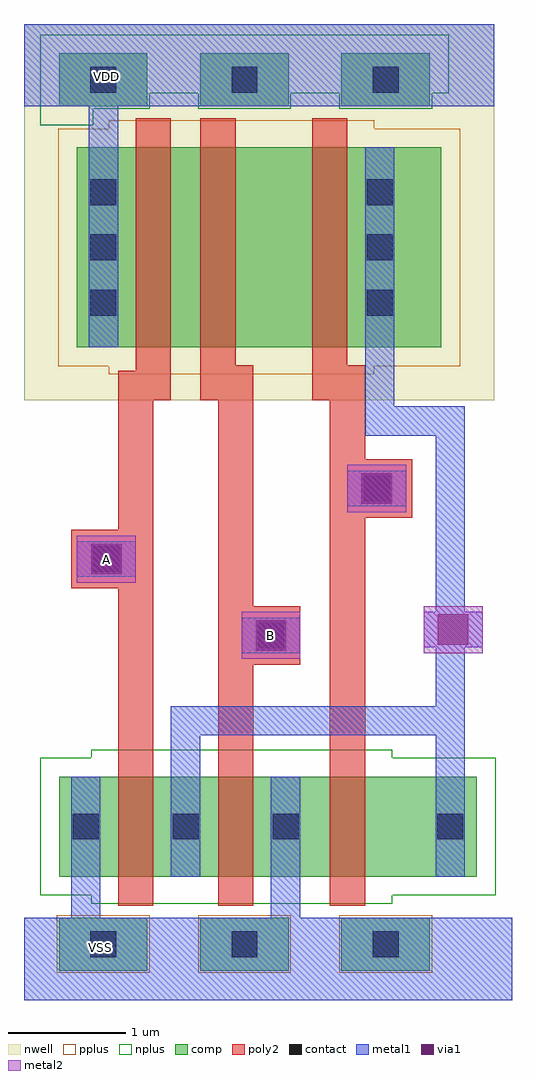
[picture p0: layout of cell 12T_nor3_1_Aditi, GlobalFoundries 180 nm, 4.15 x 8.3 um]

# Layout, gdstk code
import gdstk
lib = gdstk.Library(unit=1e-6, precision=1e-09)
def R(c, l, rs):  # rectangles x0, y0, x1, y1
    for r in rs: c.add(gdstk.rectangle(r[:2], r[2:], *l))
def A(c, l, x, y, w, h, nx, ny, dx, dy):  # array of equal rectangles
    R(c, l, [(x+i*dx, y+j*dy, x+i*dx+w, y+j*dy+h) for i in range(nx) for j in range(ny)])
nwell = (21, 0)
comp = (22, 0)
poly2 = (30, 0)
pplus = (31, 0)
nplus = (32, 0)
contact = (33, 0)
metal1 = (34, 0)
via1 = (35, 0)
metal2 = (36, 0)

c_12t_nor3_1_aditi = lib.new_cell('12T_nor3_1_Aditi')
R(c_12t_nor3_1_aditi, nwell, [(0,5.1,4,8.3)])
A(c_12t_nor3_1_aditi, comp, 0.3, 0.25, 0.75, 0.45, 3, 2, 1.2, 7.35)
R(c_12t_nor3_1_aditi, comp, [(0.3,1.05,3.85,1.9), (0.45,5.55,3.55,7.25)])
R(c_12t_nor3_1_aditi, poly2, [(0.8,0.8,1.1,3.5), (1.65,0.8,1.95,2.85), (2.6,0.8,2.9,4.1), (1.65,2.85,2.35,3.35), (1.65,3.35,1.95,5.1), (0.4,3.5,1.1,4), (0.8,4,1.1,5.1), (2.6,4.1,3.3,4.6), (2.6,4.6,2.9,5.1), (0.8,5.1,1.25,5.35), (1.5,5.1,1.95,5.4), (2.45,5.1,2.9,5.4), (0.95,5.35,1.25,7.5), (1.5,5.4,1.8,7.5), (2.45,5.4,2.75,7.5)])
A(c_12t_nor3_1_aditi, pplus, 0.28, 0.23, 0.79, 0.49, 3, 1, 1.2, 0)
R(c_12t_nor3_1_aditi, pplus, [(0.72,5.32,2.98,5.39), (0.29,5.39,3.71,7.41), (0.72,7.41,2.98,7.48)])
R(c_12t_nor3_1_aditi, nplus, [(0.57,0.82,3.13,0.89), (0.14,0.89,4.01,2.06), (0.57,2.06,3.13,2.13), (0.14,7.44,0.59,7.58), (0.14,7.58,1.07,7.71), (1.48,7.58,2.27,7.71), (2.68,7.58,3.47,7.71), (0.14,7.71,3.61,8.21)])
A(c_12t_nor3_1_aditi, contact, 0.565, 0.365, 0.22, 0.22, 3, 2, 1.2, 7.35)
A(c_12t_nor3_1_aditi, contact, 0.415, 1.365, 0.22, 0.22, 3, 1, 0.85, 0)
A(c_12t_nor3_1_aditi, contact, 0.565, 5.82, 0.22, 0.22, 1, 3, 0, 0.47)
A(c_12t_nor3_1_aditi, contact, 2.915, 5.82, 0.22, 0.22, 1, 3, 0, 0.47)
R(c_12t_nor3_1_aditi, contact, [(3.515,1.365,3.735,1.585), (1.99,2.99,2.21,3.21), (0.59,3.64,0.81,3.86), (2.89,4.24,3.11,4.46)])
R(c_12t_nor3_1_aditi, metal1, [(0,0,4.15,0.7), (0.4,0.7,0.65,1.9), (2.1,0.7,2.35,1.9), (1.25,1.05,1.5,2.25), (3.5,1.05,3.75,2.25), (1.25,2.25,3.75,2.5), (3.5,2.5,3.75,3), (1.85,2.95,2.35,3.25), (3.4,3,3.9,3.3), (3.5,3.3,3.75,4.8), (0.45,3.6,0.95,3.9), (2.75,4.2,3.25,4.5), (2.9,4.8,3.75,5.05), (2.9,5.05,3.15,7.25), (0.55,5.55,0.8,7.6), (0,7.6,4,8.3)])
R(c_12t_nor3_1_aditi, via1, [(1.97,2.97,2.23,3.23), (3.52,3.02,3.78,3.28), (0.57,3.62,0.83,3.88), (2.87,4.22,3.13,4.48)])
R(c_12t_nor3_1_aditi, metal2, [(1.85,2.9,2.35,3.3), (3.4,2.95,3.9,3.35), (0.45,3.55,0.95,3.95), (2.75,4.15,3.25,4.55)])
c_12t_nor3_1_aditi.add(gdstk.Label('A', (0.7,3.75), layer=36, texttype=10))
c_12t_nor3_1_aditi.add(gdstk.Label('B', (2.1,3.1), layer=36, texttype=10))
c_12t_nor3_1_aditi.add(gdstk.Label('VDD', (0.7,7.85), layer=22, texttype=0))
c_12t_nor3_1_aditi.add(gdstk.Label('VSS', (0.65,0.45), layer=22, texttype=0))

lib.write_gds('12T_nor3_1_Aditi.gds')
